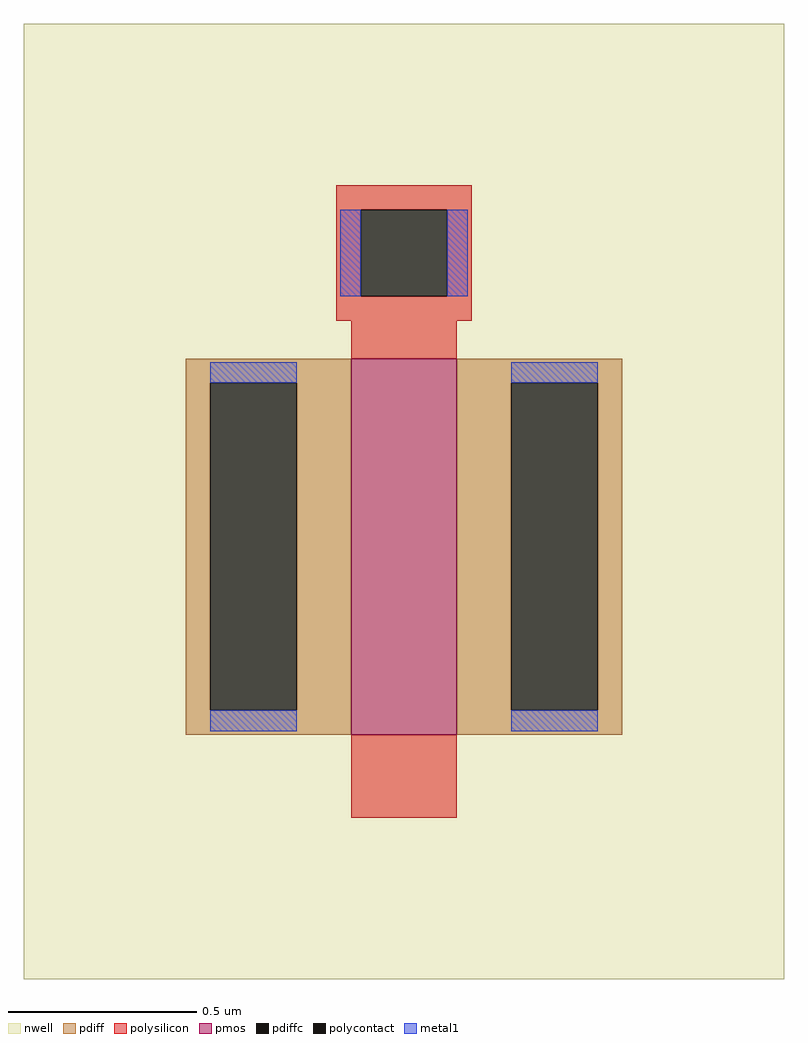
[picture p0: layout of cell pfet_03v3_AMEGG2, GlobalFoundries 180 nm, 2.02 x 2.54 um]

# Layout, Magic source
magic
tech gf180mcuD
magscale 1 10
<< nwell >>
rect -202 -254 202 254
<< pmos >>
rect -28 -124 28 76
<< pdiff >>
rect -116 63 -28 76
rect -116 -111 -103 63
rect -57 -111 -28 63
rect -116 -124 -28 -111
rect 28 63 116 76
rect 28 -111 57 63
rect 103 -111 116 63
rect 28 -124 116 -111
<< pdiffc >>
rect -103 -111 -57 63
rect 57 -111 103 63
<< polysilicon >>
rect -36 155 36 168
rect -36 109 -23 155
rect 23 109 36 155
rect -36 96 36 109
rect -28 76 28 96
rect -28 -168 28 -124
<< polycontact >>
rect -23 109 23 155
<< metal1 >>
rect -34 109 -23 155
rect 23 109 34 155
rect -103 63 -57 74
rect -103 -122 -57 -111
rect 57 63 103 74
rect 57 -122 103 -111
<< properties >>
string gencell pfet_03v3
string library gf180mcu
string parameters w 1 l 0.280 m 1 nf 1 diffcov 100 polycov 100 guard 0 glc 0 grc 0 gtc 0 gbc 0 tbcov 100 rlcov 100 topc 1 botc 0 poverlap 0 doverlap 0 lmin 0.28 wmin 0.22 class mosfet full_metal 0 compatible {pfet_03v3 pfet_06v0}
<< end >>
